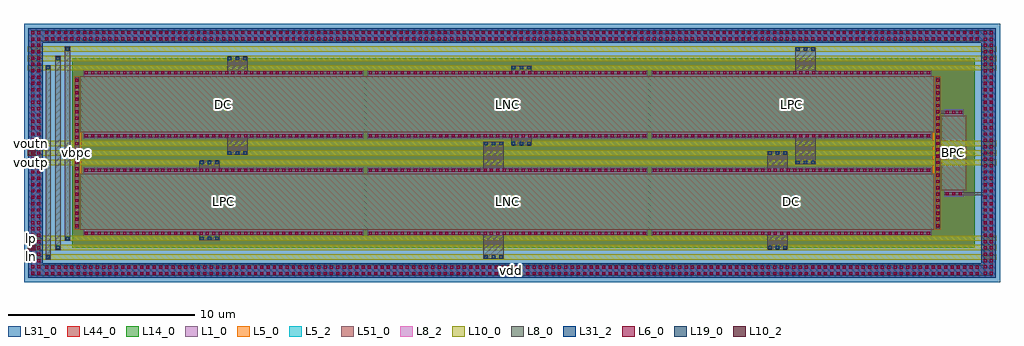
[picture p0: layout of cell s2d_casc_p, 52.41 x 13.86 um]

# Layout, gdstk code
from math import pi, radians
import gdstk
lib = gdstk.Library(unit=1e-6, precision=1e-09)
def R(c, l, rs):  # rectangles x0, y0, x1, y1
    for r in rs: c.add(gdstk.rectangle(r[:2], r[2:], *l))
def A(c, l, x, y, w, h, nx, ny, dx, dy):  # array of equal rectangles
    R(c, l, [(x+i*dx, y+j*dy, x+i*dx+w, y+j*dy+h) for i in range(nx) for j in range(ny)])
L1_0 = (1, 0)
L5_0 = (5, 0)
L5_2 = (5, 2)
L6_0 = (6, 0)
L8_0 = (8, 0)
L8_2 = (8, 2)
L10_0 = (10, 0)
L10_2 = (10, 2)
L14_0 = (14, 0)
L19_0 = (19, 0)
L31_0 = (31, 0)
L31_2 = (31, 2)
L44_0 = (44, 0)
L51_0 = (51, 0)

pmoshv_3 = lib.new_cell('pmosHV$3')
R(pmoshv_3, L1_0, [(0,0,0.3,0.3), (0,0,3.68,15), (3.38,0,3.68,0.3)])
R(pmoshv_3, L5_0, [(0.34,-0.18,3.34,15.18)])
R(pmoshv_3, L5_2, [(0.34,-0.18,3.34,15.18)])
A(pmoshv_3, L6_0, 0.07, 0.07, 0.16, 0.16, 1, 3, 0, 0.34)
A(pmoshv_3, L6_0, 3.45, 0.07, 0.16, 0.16, 1, 3, 0, 0.34)
A(pmoshv_3, L6_0, 0.07, 1.095, 0.16, 0.16, 1, 3, 0, 0.34)
A(pmoshv_3, L6_0, 3.45, 1.095, 0.16, 0.16, 1, 3, 0, 0.34)
A(pmoshv_3, L6_0, 0.07, 2.12, 0.16, 0.16, 1, 3, 0, 0.34)
A(pmoshv_3, L6_0, 3.45, 2.12, 0.16, 0.16, 1, 3, 0, 0.34)
A(pmoshv_3, L6_0, 0.07, 3.83, 0.16, 0.16, 1, 3, 0, 0.34)
A(pmoshv_3, L6_0, 3.45, 3.83, 0.16, 0.16, 1, 3, 0, 0.34)
A(pmoshv_3, L6_0, 0.07, 4.855, 0.16, 0.16, 1, 3, 0, 0.34)
A(pmoshv_3, L6_0, 3.45, 4.855, 0.16, 0.16, 1, 3, 0, 0.34)
A(pmoshv_3, L6_0, 0.07, 6.565, 0.16, 0.16, 1, 3, 0, 0.34)
A(pmoshv_3, L6_0, 3.45, 6.565, 0.16, 0.16, 1, 3, 0, 0.34)
A(pmoshv_3, L6_0, 0.07, 7.59, 0.16, 0.16, 1, 3, 0, 0.34)
A(pmoshv_3, L6_0, 3.45, 7.59, 0.16, 0.16, 1, 3, 0, 0.34)
A(pmoshv_3, L6_0, 0.07, 9.3, 0.16, 0.16, 1, 3, 0, 0.34)
A(pmoshv_3, L6_0, 3.45, 9.3, 0.16, 0.16, 1, 3, 0, 0.34)
A(pmoshv_3, L6_0, 0.07, 10.325, 0.16, 0.16, 1, 3, 0, 0.34)
A(pmoshv_3, L6_0, 3.45, 10.325, 0.16, 0.16, 1, 3, 0, 0.34)
A(pmoshv_3, L6_0, 0.07, 12.035, 0.16, 0.16, 1, 3, 0, 0.34)
A(pmoshv_3, L6_0, 3.45, 12.035, 0.16, 0.16, 1, 3, 0, 0.34)
A(pmoshv_3, L6_0, 0.07, 13.06, 0.16, 0.16, 1, 3, 0, 0.34)
A(pmoshv_3, L6_0, 3.45, 13.06, 0.16, 0.16, 1, 3, 0, 0.34)
R(pmoshv_3, L6_0, [(0.07,3.145,0.23,3.305), (3.45,3.145,3.61,3.305), (0.07,3.485,0.23,3.645), (3.45,3.485,3.61,3.645), (0.07,5.88,0.23,6.04), (3.45,5.88,3.61,6.04), (0.07,6.22,0.23,6.38), (3.45,6.22,3.61,6.38), (0.07,8.615,0.23,8.775), (3.45,8.615,3.61,8.775), (0.07,8.955,0.23,9.115), (3.45,8.955,3.61,9.115), (0.07,11.35,0.23,11.51), (3.45,11.35,3.61,11.51), (0.07,11.69,0.23,11.85), (3.45,11.69,3.61,11.85), (0.07,14.085,0.23,14.245), (3.45,14.085,3.61,14.245), (0.07,14.425,0.23,14.585), (3.45,14.425,3.61,14.585), (0.07,14.77,0.23,14.93), (3.45,14.77,3.61,14.93)])
R(pmoshv_3, L8_0, [(0.07,0,0.23,15), (3.45,0,3.61,15)])
R(pmoshv_3, L8_2, [(0.07,0,0.23,15), (3.45,0,3.61,15)])
R(pmoshv_3, L14_0, [(-0.18,-0.4,3.86,15.4)])
R(pmoshv_3, L31_0, [(-0.62,-0.62,4.3,15.62)])
R(pmoshv_3, L44_0, [(-0.62,-0.62,4.3,15.62)])
R(pmoshv_3, L51_0, [(0.34,-0.18,3.34,15.18)])
pmoshv_3.add(gdstk.Label('pmosHV', (1.84,7.5), layer=63, texttype=0))
pmoshv_3.add(gdstk.Label('pmos', (1.84,7.5), layer=51, texttype=0))

pmoshv_4 = lib.new_cell('pmosHV$4')
R(pmoshv_4, L1_0, [(0,0,0.3,0.3), (0,0,4.68,1), (4.38,0,4.68,0.3)])
R(pmoshv_4, L5_0, [(0.34,-0.18,4.34,1.18)])
R(pmoshv_4, L5_2, [(0.34,-0.18,4.34,1.18)])
A(pmoshv_4, L6_0, 0.07, 0.07, 0.16, 0.16, 1, 3, 0, 0.35)
A(pmoshv_4, L6_0, 4.45, 0.07, 0.16, 0.16, 1, 3, 0, 0.35)
R(pmoshv_4, L8_0, [(0.07,0,0.23,1), (4.45,0,4.61,1)])
R(pmoshv_4, L8_2, [(0.07,0,0.23,1), (4.45,0,4.61,1)])
R(pmoshv_4, L14_0, [(-0.18,-0.4,4.86,1.4)])
R(pmoshv_4, L31_0, [(-0.62,-0.62,5.3,1.62)])
R(pmoshv_4, L44_0, [(-0.62,-0.62,5.3,1.62)])
R(pmoshv_4, L51_0, [(0.34,-0.18,4.34,1.18)])
pmoshv_4.add(gdstk.Label('pmosHV', (2.34,0.5), layer=63, texttype=0))
pmoshv_4.add(gdstk.Label('pmos', (2.34,0.5), layer=51, texttype=0))

ntap1 = lib.new_cell('ntap1')
R(ntap1, L1_0, [(0,0,0.78,13.38)])
A(ntap1, L6_0, 0.14, 0.15, 0.16, 0.16, 1, 39, 0, 0.34)
A(ntap1, L6_0, 0.48, 0.15, 0.16, 0.16, 1, 39, 0, 0.34)
R(ntap1, L8_0, [(0.14,0.1,0.64,13.28)])
R(ntap1, L8_2, [(0.14,0.1,0.64,13.28), (0.14,0.15,0.64,13.23)])
R(ntap1, L31_0, [(-0.24,-0.24,1.02,13.62), (0,0,0.78,13.38)])
R(ntap1, L31_2, [(0,0,0.78,13.38)])
ntap1.add(gdstk.Label('well', (0.39,0.01), layer=31, texttype=0))
ntap1.add(gdstk.Label('well', (0.39,0.01), layer=63, texttype=0))

ntap1_1 = lib.new_cell('ntap1$1')
R(ntap1_1, L1_0, [(0,0,50.365,0.78)])
A(ntap1_1, L6_0, 0.11, 0.14, 0.16, 0.16, 148, 2, 0.34, 0.34)
R(ntap1_1, L8_0, [(0.11,0.09,50.25,0.69)])
R(ntap1_1, L8_2, [(0.11,0.09,50.25,0.69), (0.11,0.14,50.25,0.64)])
R(ntap1_1, L31_0, [(-0.24,-0.24,50.605,1.02), (0,0,50.365,0.78)])
R(ntap1_1, L31_2, [(0,0,50.365,0.78)])
ntap1_1.add(gdstk.Label('well', (25.182,0.01), layer=31, texttype=0))
ntap1_1.add(gdstk.Label('well', (25.182,0.01), layer=63, texttype=0))

s2d_casc_p = lib.new_cell('s2d_casc_p')
R(s2d_casc_p, L5_0, [(-0.51,0.34,-0.1,8.58), (45.6,0.34,46.01,8.58), (45.9,2.46,46.12,6.46)])
A(s2d_casc_p, L6_0, -0.44, 0.47, 0.16, 0.16, 1, 24, 0, 0.34)
A(s2d_casc_p, L6_0, 45.78, 0.47, 0.16, 0.16, 1, 24, 0, 0.34)
R(s2d_casc_p, L8_0, [(-2.825,-2.14,48.82,-2.13), (-2.425,-2.14,-1.975,-1.54), (47.965,-2.14,48.42,-1.54), (-2.05,-1.265,-1.76,9.185), (21.445,-1.225,22.555,0.23), (-1.53,-0.765,-1.24,9.685), (36.695,-0.725,37.805,0.23), (-1.01,-0.265,-0.72,10.185), (6.195,-0.225,7.305,0.23), (-0.49,0.4,-0.23,8.52), (45.73,0.4,45.99,8.52), (47.12,2.19,48.42,2.35), (6.195,3.45,7.305,4.065), (21.445,3.45,22.555,5.065), (36.695,3.45,37.805,4.565), (38.195,3.855,39.305,5.47), (7.695,4.355,8.805,5.47), (22.945,4.855,24.055,5.47), (45.73,6.57,46.32,6.73), (7.695,8.69,8.805,9.645), (22.945,8.69,24.055,9.145), (38.195,8.69,39.305,10.145), (-2.425,10.46,-1.975,11.06), (47.965,10.46,48.42,11.06), (-2.825,11.05,48.82,11.06)])
R(s2d_casc_p, L8_2, [(-2.075,-2.14,48.065,-1.54), (-0.49,0.4,-0.23,8.52)])
A(s2d_casc_p, L10_2, -2.995, -1.265, 0.4, 0.29, 1, 3, 0, 0.5)
A(s2d_casc_p, L10_2, -2.995, 3.815, 0.4, 0.29, 1, 3, 0, 0.5)
R(s2d_casc_p, L14_0, [(-0.62,-0.62,47.84,9.54)])
A(s2d_casc_p, L19_0, 21.495, -1.215, 0.19, 0.19, 3, 2, 0.41, 6.08)
A(s2d_casc_p, L19_0, 36.745, -0.715, 0.19, 0.19, 3, 2, 0.41, 5.08)
A(s2d_casc_p, L19_0, 6.245, -0.215, 0.19, 0.19, 3, 2, 0.41, 4.08)
A(s2d_casc_p, L19_0, 38.245, 3.865, 0.19, 0.19, 3, 2, 0.41, 6.08)
A(s2d_casc_p, L19_0, 7.745, 4.365, 0.19, 0.19, 3, 2, 0.41, 5.08)
A(s2d_casc_p, L19_0, 22.995, 4.865, 0.19, 0.19, 3, 2, 0.41, 4.08)
R(s2d_casc_p, L19_0, [(-2,-1.215,-1.81,-1.025), (-1.48,-0.715,-1.29,-0.525), (-0.96,-0.215,-0.77,-0.025), (-2,8.945,-1.81,9.135), (-1.48,9.445,-1.29,9.635), (-0.96,9.945,-0.77,10.135)])
R(s2d_casc_p, L31_0, [(-3.205,-2.47,49.2,11.39)])
R(s2d_casc_p, L44_0, [(-0.62,-0.62,47.84,9.54)])
s2d_casc_p.add(gdstk.FlexPath([(-2.85,-0.12),(48.845,-0.12)], 0.29, ends="extended", simple_path=True, layer=10, datatype=0))  # L10_0
s2d_casc_p.add(gdstk.FlexPath([(-2.85,-0.62),(48.845,-0.62)], 0.29, ends="extended", simple_path=True, layer=10, datatype=0))  # L10_0
s2d_casc_p.add(gdstk.FlexPath([(-2.85,-1.12),(48.845,-1.12)], 0.29, ends="extended", simple_path=True, layer=10, datatype=0))  # L10_0
s2d_casc_p.add(gdstk.FlexPath([(-2.85,3.96),(48.845,3.96)], 0.29, ends="extended", simple_path=True, layer=10, datatype=0))  # L10_0
s2d_casc_p.add(gdstk.FlexPath([(-2.85,4.46),(48.845,4.46)], 0.29, ends="extended", simple_path=True, layer=10, datatype=0))  # L10_0
s2d_casc_p.add(gdstk.FlexPath([(-2.85,4.96),(48.845,4.96)], 0.29, ends="extended", simple_path=True, layer=10, datatype=0))  # L10_0
s2d_casc_p.add(gdstk.FlexPath([(-2.85,10.04),(48.845,10.04)], 0.29, ends="extended", simple_path=True, layer=10, datatype=0))  # L10_0
s2d_casc_p.add(gdstk.FlexPath([(-2.85,9.54),(48.845,9.54)], 0.29, ends="extended", simple_path=True, layer=10, datatype=0))  # L10_0
s2d_casc_p.add(gdstk.FlexPath([(-2.85,9.04),(48.845,9.04)], 0.29, ends="extended", simple_path=True, layer=10, datatype=0))  # L10_0
r = gdstk.Reference(pmoshv_3, (0,0), rotation=pi/2, x_reflection=True); r.repetition = gdstk.Repetition(2, 3, v1=(0,5.24), v2=(15.25,0)); s2d_casc_p.add(r)
s2d_casc_p.add(gdstk.Reference(pmoshv_4, (46.22,2.12), rotation=pi/2, x_reflection=True))
s2d_casc_p.add(gdstk.Reference(ntap1, (-2.965,-2.23)))
s2d_casc_p.add(gdstk.Reference(ntap1, (48.18,-2.23)))
s2d_casc_p.add(gdstk.Reference(ntap1_1, (-2.185,10.37)))
s2d_casc_p.add(gdstk.Reference(ntap1_1, (-2.185,-2.23)))
s2d_casc_p.add(gdstk.Label('LPC', (7.5,1.84), layer=63, texttype=0))
s2d_casc_p.add(gdstk.Label('LPC', (38,7.08), layer=63, texttype=0))
s2d_casc_p.add(gdstk.Label('LNC', (22.75,1.84), layer=63, texttype=0))
s2d_casc_p.add(gdstk.Label('LNC', (22.75,7.08), layer=63, texttype=0))
s2d_casc_p.add(gdstk.Label('DC', (38,1.84), layer=63, texttype=0))
s2d_casc_p.add(gdstk.Label('DC', (7.5,7.08), layer=63, texttype=0))
s2d_casc_p.add(gdstk.Label('BPC', (46.72,4.46), layer=63, texttype=0))
s2d_casc_p.add(gdstk.Label('vbpc', (-0.36,4.46), layer=8, texttype=25))
s2d_casc_p.add(gdstk.Label('vdd', (22.995,-1.84), layer=8, texttype=25))
s2d_casc_p.add(gdstk.Label('lp', (-2.795,-0.12), layer=10, texttype=25))
s2d_casc_p.add(gdstk.Label('dd', (-2.795,-0.62), layer=10, texttype=25))
s2d_casc_p.add(gdstk.Label('ln', (-2.795,-1.12), layer=10, texttype=25))
s2d_casc_p.add(gdstk.Label('voutp', (-2.795,3.96), layer=10, texttype=25))
s2d_casc_p.add(gdstk.Label('vcmfb', (-2.795,4.46), layer=10, texttype=25))
s2d_casc_p.add(gdstk.Label('voutn', (-2.795,4.96), layer=10, texttype=25))

lib.write_gds('s2d_casc_p.gds')
